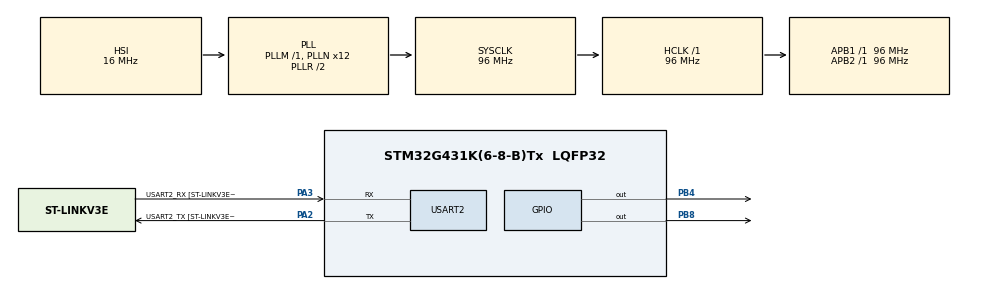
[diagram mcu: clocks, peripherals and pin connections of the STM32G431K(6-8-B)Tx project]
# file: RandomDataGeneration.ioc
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Mcu.Family=STM32G4
Mcu.Name=STM32G431K(6-8-B)Tx
Mcu.Package=LQFP32
NVIC.PriorityGroup=NVIC_PRIORITYGROUP_4
PA13.GPIO_Label=T_SWDIO
PA13.Signal=SYS_JTMS-SWDIO
PA14.GPIO_Label=T_SWCLK
PA14.Signal=SYS_JTCK-SWCLK
PA2.GPIO_Label=USART2_TX [ST-LINKV3E_VCP_RX]
PA2.Mode=Asynchronous
PA2.Signal=USART2_TX
PA3.GPIO_Label=USART2_RX [ST-LINKV3E_VCP_TX]
PA3.Mode=Asynchronous
PA3.Signal=USART2_RX
PB3.GPIO_Label=T_SWO
PB3.Signal=SYS_JTDO-SWO
PB4.Signal=GPIO_Output
PB8-BOOT0.Signal=GPIO_Output
ProjectManager.HeapSize=0x200
ProjectManager.StackSize=0x400
ProjectManager.TargetToolchain=CMake
RCC.ADC12Freq_Value=96000000
RCC.AHBFreq_Value=96000000
RCC.APB1Freq_Value=96000000
RCC.APB1TimFreq_Value=96000000
RCC.APB2Freq_Value=96000000
RCC.APB2TimFreq_Value=96000000
RCC.CortexFreq_Value=96000000
RCC.EXTERNAL_CLOCK_VALUE=12288000
RCC.HCLKFreq_Value=96000000
RCC.HSE_VALUE=8000000
RCC.HSI48_VALUE=48000000
RCC.HSI_VALUE=16000000
RCC.LSE_VALUE=32768
RCC.PLLN=12
RCC.PLLQ=RCC_PLLQ_DIV4
RCC.SYSCLKFreq_VALUE=96000000
RCC.SYSCLKSource=RCC_SYSCLKSOURCE_PLLCLK
RCC.USBFreq_Value=48000000
RCC.VCOOutputFreq_Value=192000000
USART2.VirtualMode-Asynchronous=VM_ASYNC
VP_RNG_VS_RNG.Mode=RNG_Activate
VP_SYS_VS_DBSignals.Mode=DisableDeadBatterySignals
VP_TIM1_VS_ClockSourceINT.Mode=Internal
board=NUCLEO-G431KB

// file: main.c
/* USER CODE BEGIN Header */
/**
  ******************************************************************************
  * @file           : main.c
  * @brief          : Main program body
  ******************************************************************************
  * @attention
  *
  * Copyright (c) 2026 STMicroelectronics.
  * All rights reserved.
  *
  * This software is licensed under terms that can be found in the LICENSE file
  * in the root directory of this software component.
  * If no LICENSE file comes with this software, it is provided AS-IS.
  *
  ******************************************************************************
  */
/* USER CODE END Header */
#include "main.h"

/* USER CODE BEGIN Includes */

#include "stm32g431xx.h"
#include "stm32g4xx_hal.h"
#include "stm32g4xx_hal_gpio.h"
#include <math.h>
#include <stdint.h>
#include <stdio.h>

/* USER CODE END Includes */

RNG_HandleTypeDef hrng;

TIM_HandleTypeDef htim1;

UART_HandleTypeDef huart2;

/* USER CODE BEGIN PV */

#define RANDOM_ARRAY_SIZE 32
#define DATA_RATE_KBPS 10     // data rate in kb/s (kilobit per second)
#define BIT_HIGH 1
#define BIT_LOW 0

volatile uint32_t random_number = 0;
volatile uint8_t random_number_bits[RANDOM_ARRAY_SIZE];

/* USER CODE END PV */

void SystemClock_Config(void);
static void MX_GPIO_Init(void);
static void MX_RNG_Init(void);
static void MX_USART2_UART_Init(void);
static void MX_TIM1_Init(void);

/* USER CODE BEGIN 0 */

/** generates a 32-bit random number using RNG peripheral
  * then converts the random number into an array fo invidual bits for transmission and LED testing
  */
void Generate_Random_Bit_Array(void)
{
  if (HAL_RNG_GenerateRandomNumber(&hrng, (uint32_t*)&random_number) != HAL_OK)
  {
    Error_Handler();
  }

  for (int i = 0; i < RANDOM_ARRAY_SIZE; i++)
  {
    /* shifted right by i bits + then mask everything except the lowest bit this works because
     * if you AND a bit with 1, you get the bit value
     */
    random_number_bits[i] = (random_number >> i) & 0x01;
  }
}

/** transmits the generated random number over USART2 to a serial terminal
  */
void USART_Send_Bit_Sequence(int i)
{
  char buffer[20];

  int len = snprintf(
    buffer,
    sizeof(buffer),
    ">index:%d,bit:%d\r\n",
    i,
    random_number_bits[i]
  );

  HAL_UART_Transmit(
    &huart2,
    (uint8_t*)buffer,
    len,
    100
  );
}

/** transmits the random bit sequence by driving the selected GPIO pin HIGH or LOW
  */
void Sequence_Output(GPIO_TypeDef *GPIOx, uint16_t GPIO_Pin, uint32_t DELAY)
{
  for (int i = 0; i < RANDOM_ARRAY_SIZE; i++)
  {
    if (random_number_bits[i] == BIT_HIGH)
    {
      /* on bank x, set pin to output logic HIGH for bit value 1 */
      HAL_GPIO_WritePin(
        GPIOx,
        GPIO_Pin,
        GPIO_PIN_SET
      );
    }
    else
    {
      /* on bank x, set pin to output logic LOW for bit value 0 */
      HAL_GPIO_WritePin(
        GPIOx,
        GPIO_Pin,
        GPIO_PIN_RESET
      );
    }

    USART_Send_Bit_Sequence(i);

    HAL_Delay(DELAY);
  }

  HAL_GPIO_WritePin(
    GPIOx,
    GPIO_Pin,
    GPIO_PIN_RESET
  );
}

/* USER CODE END 0 */

int main(void)
{

  /* MCU Configuration--------------------------------------------------------*/

  /* Reset of all peripherals, Initializes the Flash interface and the Systick. */
  HAL_Init();

  /* Configure the system clock */
  SystemClock_Config();

  /* Initialize all configured peripherals */
  MX_GPIO_Init();
  MX_RNG_Init();
  MX_USART2_UART_Init();
  MX_TIM1_Init();

  /* Infinite loop */
  /* USER CODE BEGIN WHILE */
  while (1)
  {
    Generate_Random_Bit_Array();

    Sequence_Output(GPIOB, GPIO_PIN_4, 1000);

    /* USER CODE END WHILE */

  }
}

void SystemClock_Config(void)
{
  RCC_OscInitTypeDef RCC_OscInitStruct = {0};
  RCC_ClkInitTypeDef RCC_ClkInitStruct = {0};

  /** Configure the main internal regulator output voltage
  */
  HAL_PWREx_ControlVoltageScaling(PWR_REGULATOR_VOLTAGE_SCALE1);

  /** Initializes the RCC Oscillators according to the specified parameters
  * in the RCC_OscInitTypeDef structure.
  */
  RCC_OscInitStruct.OscillatorType = RCC_OSCILLATORTYPE_HSI;
  RCC_OscInitStruct.HSIState = RCC_HSI_ON;
  RCC_OscInitStruct.HSICalibrationValue = RCC_HSICALIBRATION_DEFAULT;
  RCC_OscInitStruct.PLL.PLLState = RCC_PLL_ON;
  RCC_OscInitStruct.PLL.PLLSource = RCC_PLLSOURCE_HSI;
  RCC_OscInitStruct.PLL.PLLM = RCC_PLLM_DIV1;
  RCC_OscInitStruct.PLL.PLLN = 12;
  RCC_OscInitStruct.PLL.PLLP = RCC_PLLP_DIV2;
  RCC_OscInitStruct.PLL.PLLQ = RCC_PLLQ_DIV4;
  RCC_OscInitStruct.PLL.PLLR = RCC_PLLR_DIV2;
  if (HAL_RCC_OscConfig(&RCC_OscInitStruct) != HAL_OK)
  {
    Error_Handler();
  }

  /** Initializes the CPU, AHB and APB buses clocks
  */
  RCC_ClkInitStruct.ClockType = RCC_CLOCKTYPE_HCLK|RCC_CLOCKTYPE_SYSCLK
                              |RCC_CLOCKTYPE_PCLK1|RCC_CLOCKTYPE_PCLK2;
  RCC_ClkInitStruct.SYSCLKSource = RCC_SYSCLKSOURCE_PLLCLK;
  RCC_ClkInitStruct.AHBCLKDivider = RCC_SYSCLK_DIV1;
  RCC_ClkInitStruct.APB1CLKDivider = RCC_HCLK_DIV1;
  RCC_ClkInitStruct.APB2CLKDivider = RCC_HCLK_DIV1;

  if (HAL_RCC_ClockConfig(&RCC_ClkInitStruct, FLASH_LATENCY_3) != HAL_OK)
  {
    Error_Handler();
  }
}

static void MX_RNG_Init(void)
{

  hrng.Instance = RNG;
  hrng.Init.ClockErrorDetection = RNG_CED_ENABLE;
  if (HAL_RNG_Init(&hrng) != HAL_OK)
  {
    Error_Handler();
  }

}

static void MX_TIM1_Init(void)
{

  TIM_ClockConfigTypeDef sClockSourceConfig = {0};
  TIM_MasterConfigTypeDef sMasterConfig = {0};

  htim1.Instance = TIM1;
  htim1.Init.Prescaler = 0;
  htim1.Init.CounterMode = TIM_COUNTERMODE_UP;
  htim1.Init.Period = 65535;
  htim1.Init.ClockDivision = TIM_CLOCKDIVISION_DIV1;
  htim1.Init.RepetitionCounter = 0;
  htim1.Init.AutoReloadPreload = TIM_AUTORELOAD_PRELOAD_DISABLE;
  if (HAL_TIM_Base_Init(&htim1) != HAL_OK)
  {
    Error_Handler();
  }
  sClockSourceConfig.ClockSource = TIM_CLOCKSOURCE_INTERNAL;
  if (HAL_TIM_ConfigClockSource(&htim1, &sClockSourceConfig) != HAL_OK)
  {
    Error_Handler();
  }
  sMasterConfig.MasterOutputTrigger = TIM_TRGO_RESET;
  sMasterConfig.MasterOutputTrigger2 = TIM_TRGO2_RESET;
  sMasterConfig.MasterSlaveMode = TIM_MASTERSLAVEMODE_DISABLE;
  if (HAL_TIMEx_MasterConfigSynchronization(&htim1, &sMasterConfig) != HAL_OK)
  {
    Error_Handler();
  }

}

static void MX_USART2_UART_Init(void)
{

  huart2.Instance = USART2;
  huart2.Init.BaudRate = 115200;
  huart2.Init.WordLength = UART_WORDLENGTH_8B;
  huart2.Init.StopBits = UART_STOPBITS_1;
  huart2.Init.Parity = UART_PARITY_NONE;
  huart2.Init.Mode = UART_MODE_TX_RX;
  huart2.Init.HwFlowCtl = UART_HWCONTROL_NONE;
  huart2.Init.OverSampling = UART_OVERSAMPLING_16;
  huart2.Init.OneBitSampling = UART_ONE_BIT_SAMPLE_DISABLE;
  huart2.Init.ClockPrescaler = UART_PRESCALER_DIV1;
  huart2.AdvancedInit.AdvFeatureInit = UART_ADVFEATURE_NO_INIT;
  if (HAL_UART_Init(&huart2) != HAL_OK)
  {
    Error_Handler();
  }
  if (HAL_UARTEx_SetTxFifoThreshold(&huart2, UART_TXFIFO_THRESHOLD_1_8) != HAL_OK)
  {
    Error_Handler();
  }
  if (HAL_UARTEx_SetRxFifoThreshold(&huart2, UART_RXFIFO_THRESHOLD_1_8) != HAL_OK)
  {
    Error_Handler();
  }
  if (HAL_UARTEx_DisableFifoMode(&huart2) != HAL_OK)
  {
    Error_Handler();
  }

}

static void MX_GPIO_Init(void)
{
  GPIO_InitTypeDef GPIO_InitStruct = {0};

  /* GPIO Ports Clock Enable */
  __HAL_RCC_GPIOA_CLK_ENABLE();
  __HAL_RCC_GPIOB_CLK_ENABLE();

  /*Configure GPIO pin Output Level */
  HAL_GPIO_WritePin(GPIOB, GPIO_PIN_4|GPIO_PIN_8, GPIO_PIN_RESET);

  /*Configure GPIO pins : PB4 PB8 */
  GPIO_InitStruct.Pin = GPIO_PIN_4|GPIO_PIN_8;
  GPIO_InitStruct.Mode = GPIO_MODE_OUTPUT_PP;
  GPIO_InitStruct.Pull = GPIO_NOPULL;
  GPIO_InitStruct.Speed = GPIO_SPEED_FREQ_LOW;
  HAL_GPIO_Init(GPIOB, &GPIO_InitStruct);

}

void Error_Handler(void)
{
  __disable_irq();
  while (1)
  {
  }
}
